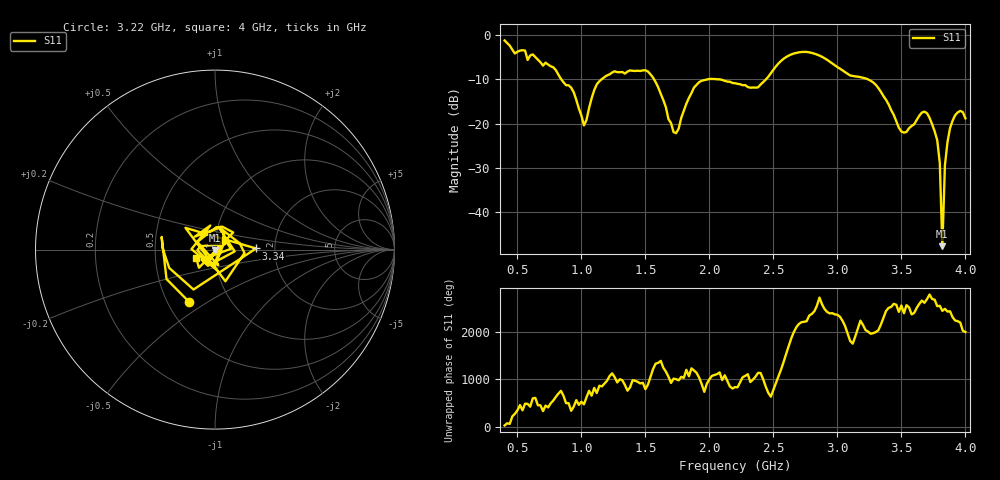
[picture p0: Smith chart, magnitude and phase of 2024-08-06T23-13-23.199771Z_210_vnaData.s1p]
!Created with skrf (http://scikit-rf.org).
# Hz S RI R 50.0
!freq ReS11 ImS11
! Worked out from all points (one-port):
!   181 points, 400 MHz to 4 GHz, reference 50 ohm
!   lowest |S11| = -47.7 dB at 3.82 GHz (marker M1), VSWR 1.01, Z = 50.1 - j0.386 ohm
!   |S11| at or under -10 dB: 1.568 GHz to 1.985 GHz (417.1 MHz wide, 23.5 % of centre); 2.083 GHz to 2.442 GHz (358.9 MHz wide, 15.9 % of centre); 3.239 GHz to end of sweep (the widest 3 of 4)
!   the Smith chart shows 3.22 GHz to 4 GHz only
!   S11 on the Smith chart (normalised r, x): 3.22 GHz: 0.64, -0.42; 3.34 GHz: 1.59, +0.02; 4 GHz: 0.81, -0.08
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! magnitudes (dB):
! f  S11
! 400 MHz  -1.2
! 860 MHz  -10.7
! 940 MHz  -12.9
! 1.02 GHz  -20.4
! 1.12 GHz  -11.1
! 1.3 GHz  -8.4
! 1.52 GHz  -8.2
! 1.6 GHz  -11.8
! 1.72 GHz  -21.9
! 1.76 GHz  -21.1
! 1.92 GHz  -10.6
! 2.2 GHz  -10.9
! 2.38 GHz  -11.8
! 2.66 GHz  -4.1
! 2.84 GHz  -4.4
! 3.1 GHz  -9.1
! 3.22 GHz  -9.8
! 3.34 GHz  -12.8
! 3.5 GHz  -21.8
! 3.56 GHz  -21.0
! 3.68 GHz  -17.3
! 3.78 GHz  -23.8
! 3.8 GHz  -28.9
! 3.82 GHz  -47.7
! 3.84 GHz  -29.4
! 3.86 GHz  -24.2
! 3.92 GHz  -18.1
! 4 GHz  -18.8
